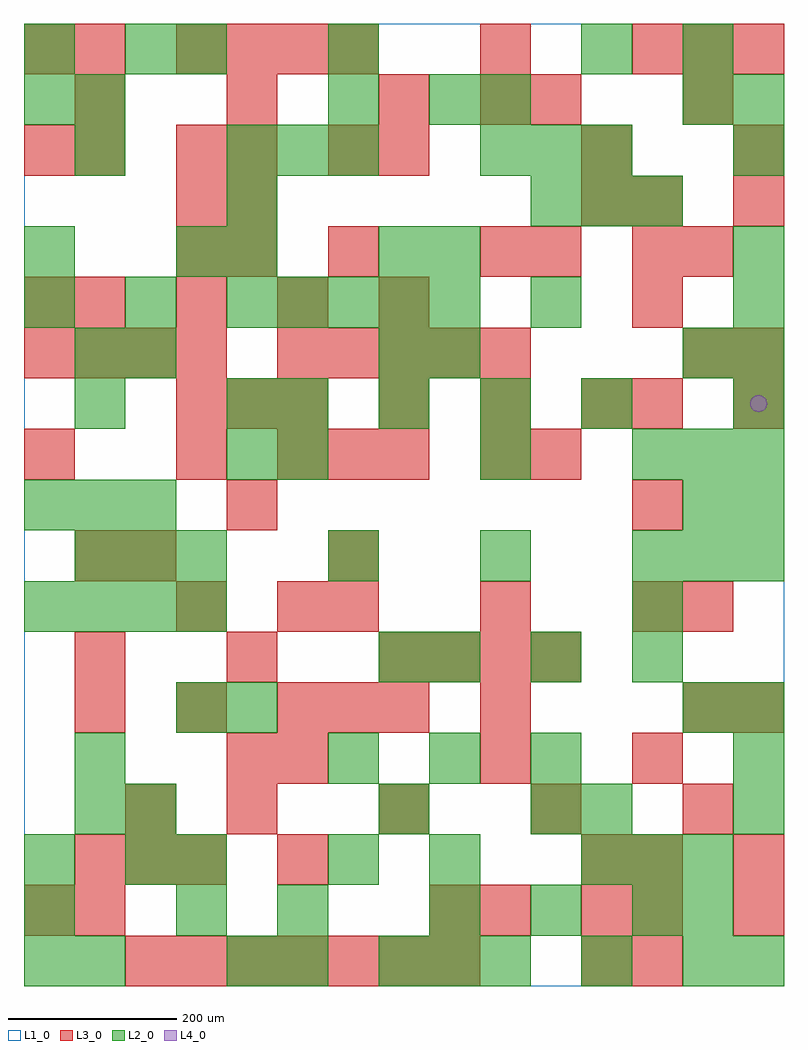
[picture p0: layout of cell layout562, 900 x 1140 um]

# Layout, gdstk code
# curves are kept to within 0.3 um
import gdstk
lib = gdstk.Library(unit=1e-6, precision=1e-09)
def R(c, l, rs):  # rectangles x0, y0, x1, y1
    for r in rs: c.add(gdstk.rectangle(r[:2], r[2:], *l))
def A(c, l, x, y, w, h, nx, ny, dx, dy):  # array of equal rectangles
    R(c, l, [(x+i*dx, y+j*dy, x+i*dx+w, y+j*dy+h) for i in range(nx) for j in range(ny)])
def P(c, l, *ps):  # polygons
    for p in ps: c.add(gdstk.Polygon(p, *l))
L1_0 = (1, 0)
L2_0 = (2, 0)
L3_0 = (3, 0)
L4_0 = (4, 0)

layout562 = lib.new_cell('layout562')
R(layout562, L1_0, [(0,0,900,1140)])
A(layout562, L2_0, 0, 0, 60, 60, 1, 3, 0, 60)
A(layout562, L2_0, 240, 0, 60, 60, 1, 3, 0, 300)
A(layout562, L2_0, 420, 0, 60, 60, 3, 1, 60, 0)
A(layout562, L2_0, 480, 60, 60, 60, 3, 2, 120, 300)
A(layout562, L2_0, 660, 120, 60, 60, 3, 1, 60, 0)
A(layout562, L2_0, 840, 180, 60, 60, 1, 3, 0, 60)
A(layout562, L2_0, 360, 240, 60, 60, 3, 1, 120, 0)
A(layout562, L2_0, 0, 420, 60, 60, 4, 1, 60, 0)
A(layout562, L2_0, 60, 480, 60, 60, 3, 1, 60, 0)
A(layout562, L2_0, 360, 480, 60, 60, 3, 1, 180, 0)
A(layout562, L2_0, 0, 540, 60, 60, 3, 1, 60, 0)
A(layout562, L2_0, 720, 600, 60, 60, 3, 1, 60, 0)
A(layout562, L2_0, 300, 660, 60, 60, 4, 1, 120, 0)
A(layout562, L2_0, 840, 660, 60, 60, 1, 4, 0, 60)
A(layout562, L2_0, 0, 780, 60, 60, 3, 1, 120, 0)
A(layout562, L2_0, 300, 780, 60, 60, 4, 1, 60, 0)
A(layout562, L2_0, 600, 900, 60, 60, 3, 1, 60, 0)
A(layout562, L2_0, 240, 960, 60, 60, 3, 1, 60, 0)
A(layout562, L2_0, 540, 960, 60, 60, 3, 1, 60, 0)
R(layout562, L2_0, [(60,0,120,60), (300,0,360,60), (660,0,720,60), (780,0,840,60), (840,0,900,60), (180,60,240,120), (300,60,360,120), (780,60,840,120), (120,120,180,180), (180,120,240,180), (360,120,420,180), (480,120,540,180), (60,180,120,240), (120,180,180,240), (420,180,480,240), (600,180,660,240), (660,180,720,240), (60,240,120,300), (180,300,240,360), (780,300,840,360), (420,360,480,420), (720,420,780,480), (780,480,840,540), (840,480,900,540), (780,540,840,600), (840,540,900,600), (300,600,360,660), (540,600,600,660), (60,660,120,720), (240,660,300,720), (60,720,120,780), (120,720,180,780), (420,720,480,780), (480,720,540,780), (780,720,840,780), (600,780,660,840), (0,840,60,900), (180,840,240,900), (240,840,300,900), (420,840,480,900), (480,840,540,900), (240,900,300,960), (60,960,120,1020), (840,960,900,1020), (0,1020,60,1080), (60,1020,120,1080), (360,1020,420,1080), (480,1020,540,1080), (540,1020,600,1080), (780,1020,840,1080), (840,1020,900,1080), (0,1080,60,1140), (120,1080,180,1140), (180,1080,240,1140), (360,1080,420,1140), (660,1080,720,1140), (780,1080,840,1140)])
A(layout562, L3_0, 120, 0, 60, 60, 7, 1, 60, 0)
A(layout562, L3_0, 660, 0, 60, 60, 1, 3, 0, 60)
A(layout562, L3_0, 720, 0, 60, 60, 1, 3, 0, 60)
A(layout562, L3_0, 60, 120, 60, 60, 3, 1, 60, 0)
A(layout562, L3_0, 240, 180, 60, 60, 4, 1, 180, 0)
A(layout562, L3_0, 240, 240, 60, 60, 1, 3, 0, 300)
A(layout562, L3_0, 60, 300, 60, 60, 3, 1, 120, 0)
A(layout562, L3_0, 60, 360, 60, 60, 3, 2, 180, 660)
A(layout562, L3_0, 480, 360, 60, 60, 3, 1, 60, 0)
A(layout562, L3_0, 360, 420, 60, 60, 3, 1, 180, 0)
A(layout562, L3_0, 720, 540, 60, 60, 1, 3, 0, 120)
A(layout562, L3_0, 0, 600, 60, 60, 1, 3, 0, 180)
A(layout562, L3_0, 300, 600, 60, 60, 3, 1, 60, 0)
A(layout562, L3_0, 180, 660, 60, 60, 3, 1, 60, 0)
A(layout562, L3_0, 420, 660, 60, 60, 3, 1, 120, 0)
A(layout562, L3_0, 0, 720, 60, 60, 4, 1, 60, 0)
A(layout562, L3_0, 300, 720, 60, 60, 5, 1, 60, 0)
A(layout562, L3_0, 60, 780, 60, 60, 4, 1, 120, 0)
A(layout562, L3_0, 180, 840, 60, 60, 1, 3, 0, 60)
A(layout562, L3_0, 180, 1080, 60, 60, 4, 1, 60, 0)
A(layout562, L3_0, 720, 1080, 60, 60, 3, 1, 60, 0)
R(layout562, L3_0, [(0,60,60,120), (60,60,120,120), (480,60,540,120), (540,60,600,120), (840,60,900,120), (300,120,360,180), (840,120,900,180), (120,180,180,240), (300,240,360,300), (540,240,600,300), (720,240,780,300), (360,300,420,360), (420,300,480,360), (540,300,600,360), (780,300,840,360), (840,300,900,360), (180,420,240,480), (300,420,360,480), (780,420,840,480), (60,480,120,540), (120,480,180,540), (360,480,420,540), (180,600,240,660), (540,600,600,660), (600,600,660,660), (840,660,900,720), (780,720,840,780), (840,720,900,780), (360,840,420,900), (540,840,600,900), (600,840,660,900), (720,840,780,900), (780,840,840,900), (240,900,300,960), (660,900,720,960), (720,900,780,960), (840,900,900,960), (60,960,120,1020), (240,960,300,1020), (360,960,420,1020), (420,960,480,1020), (660,960,720,1020), (840,960,900,1020), (540,1020,600,1080), (600,1020,660,1080), (780,1020,840,1080), (0,1080,60,1140), (60,1080,120,1140), (540,1080,600,1140)])
P(layout562, L4_0, [(880,690),(879.239,693.827),(877.071,697.071),(873.827,699.239),(870,700),(866.173,699.239),(862.929,697.071),(860.761,693.827),(860,690),(860.761,686.173),(862.929,682.929),(866.173,680.761),(870,680),(873.827,680.761),(877.071,682.929),(879.239,686.173)])

lib.write_gds('layout562.gds')
